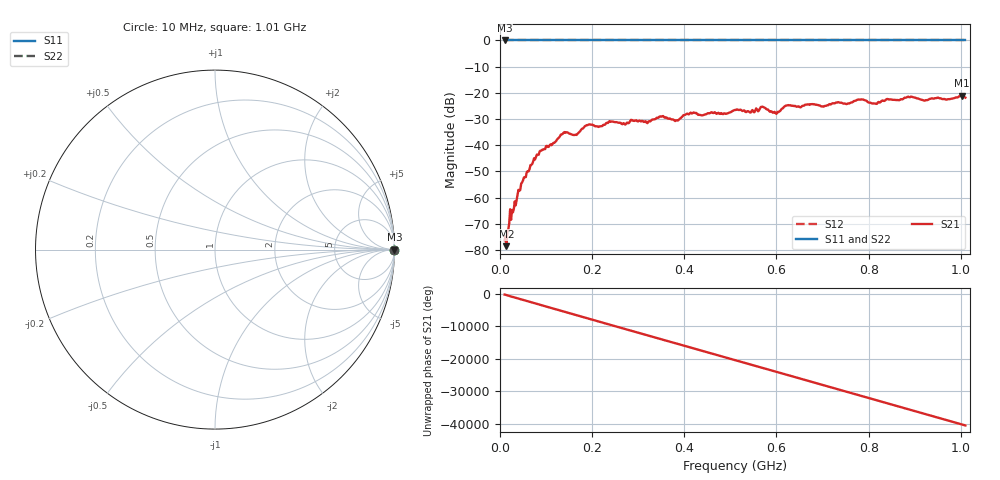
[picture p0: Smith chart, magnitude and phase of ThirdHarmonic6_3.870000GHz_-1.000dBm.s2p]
! 8/17/2025 1:32:48 PM
! C:\ANRITSUVNA\TEMP\TEMP.S2P
! CHANNEL.1
! TR.MEASUREMENT
! RAW.DATA
! RF.CORRECTION.OFF
! AVERAGING.OFF
! IF.BANDWIDTH: 5KHZ
! SWEEPTYPE:  FREQ.SWEEP(Linear)
! Reference Plane Port Info
! PORT:  PORT1  PORT2
! DISTANCE:  0  m  0  m
! TIME:  0  s  0  s
! PHASE.OFFSET:  0  deg.  0  deg.
! LOSS:  0  dB  0  dB
! REF.LOSS:  0  dB  0  dB
! REF.FREQ:  0  Hz  0  Hz
! Power Info
! POWER:  -20  dBm  -20  dBm
! EFF.POWER:  -20  dBm  -20  dBm
! SOURCE.ATTEN:  0  dB  0  dB
! TEST.ATTEN:  0  dB  0  dB
# GHZ S RI R 50.0
! FREQ.GHZ  S11RE  S11IM  S21RE  S21IM  S12RE  S12IM  S22RE  S22IM
!; PortSelection: Port_12
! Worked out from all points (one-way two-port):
!   501 points, 10 MHz to 1.01 GHz, reference 50 ohm
!   highest |S21| = -21.13 dB at 1.002 GHz (marker M1); lowest = -78.5 dB at 14 MHz (marker M2)
!   lowest |S11| = 0.0 dB at 10 MHz (marker M3)
!   |S11| at or under -10 dB: nowhere
!   |S22| runs from 0.0 to 0.0 dB; largest |S21 - S12| = 1.1
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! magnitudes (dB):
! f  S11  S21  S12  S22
! 10 MHz  0.0  -76.2  0.0  0.0
! 14 MHz  0.0  -78.5  0.0  0.0
! 24 MHz  0.0  -68.5  0.0  0.0
! 42 MHz  0.0  -57.4  0.0  0.0
! 78 MHz  0.0  -44.5  0.0  0.0
! 136 MHz  0.0  -35.7  0.0  0.0
! 164 MHz  0.0  -36.0  0.0  0.0
! 178 MHz  0.0  -33.7  0.0  0.0
! 344 MHz  0.0  -29.5  0.0  0.0
! 382 MHz  0.0  -30.5  0.0  0.0
! 416 MHz  0.0  -27.9  0.0  0.0
! 510 MHz  0.0  -26.6  0.0  0.0
! 548 MHz  0.0  -26.6  0.0  0.0
! 570 MHz  0.0  -25.3  0.0  0.0
! 596 MHz  0.0  -27.3  0.0  0.0
! 622 MHz  0.0  -24.8  0.0  0.0
! 678 MHz  0.0  -24.3  0.0  0.0
! 782 MHz  0.0  -22.6  0.0  0.0
! 814 MHz  0.0  -24.1  0.0  0.0
! 844 MHz  0.0  -22.6  0.0  0.0
! 1.002 GHz  0.0  -21.1  0.0  0.0
! 1.01 GHz  0.0  -21.8  0.0  0.0
